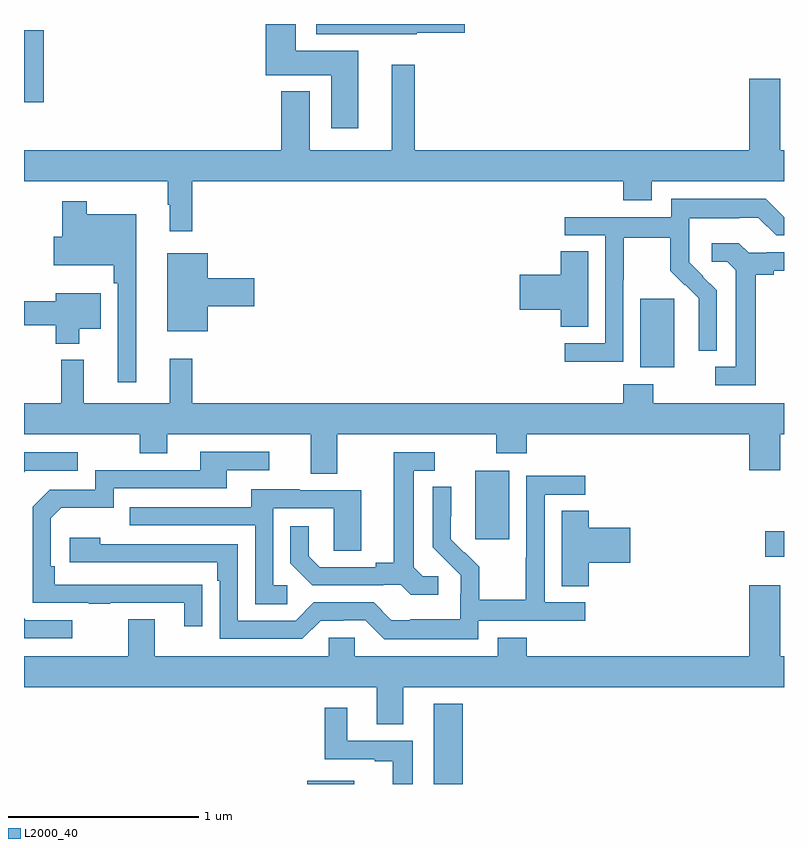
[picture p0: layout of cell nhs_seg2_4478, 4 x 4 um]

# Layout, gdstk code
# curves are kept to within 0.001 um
import gdstk
lib = gdstk.Library(unit=1e-6, precision=1e-09)
def R(c, l, rs):  # rectangles x0, y0, x1, y1
    for r in rs: c.add(gdstk.rectangle(r[:2], r[2:], *l))
def P(c, l, *ps):  # polygons
    for p in ps: c.add(gdstk.Polygon(p, *l))
L2000_40 = (2000, 40)

nhs_seg2_4478 = lib.new_cell('nhs_seg2_4478')
R(nhs_seg2_4478, L2000_40, [(354.491,641.8,354.739,641.818), (355.157,641.8,355.31,642.223), (356.901,642.995,357,643.13), (355.376,643.089,355.555,643.45), (356.243,643.994,356.422,644.355), (353,645.387,353.105,645.768)])
P(nhs_seg2_4478, L2000_40, [(355.068,645.755),(355.321,645.755),(355.321,645.8),(354.537,645.8),(354.537,645.747),(354.849,645.747),(354.849,645.746),(355.068,645.746)],
  [(354.76,645.658),(354.43,645.658),(354.43,645.8),(354.272,645.8),(354.272,645.53),(354.617,645.53),(354.617,645.251),(354.76,645.251)],
  [(353.885,644.972),(356.153,644.972),(356.153,644.873),(356.305,644.873),(356.305,644.972),(357,644.972),(357,645.136),(356.98,645.136),(356.98,645.511),(356.816,645.511),(356.816,645.136),(355.057,645.136),(355.057,645.586),(354.935,645.586),(354.935,645.136),(354.505,645.136),(354.505,645.445),(354.353,645.445),(354.353,645.136),(353,645.136),(353,644.972),(353.757,644.972),(353.757,644.849),(353.768,644.849),(353.768,644.709),(353.885,644.709)],
  [(356.154,644.452),(356.157,644.452),(356.157,644.676),(356.401,644.676),(356.401,644.501),(356.478,644.424),(356.481,644.427),(356.552,644.357),(356.552,644.234),(356.55,644.234),(356.55,644.08),(356.646,644.08),(356.646,644.398),(356.5,644.546),(356.5,644.643),(356.502,644.643),(356.502,644.777),(356.765,644.777),(356.765,644.781),(356.865,644.781),(356.958,644.688),(357,644.688),(357,644.784),(356.903,644.881),(356.406,644.881),(356.406,644.784),(355.845,644.784),(355.845,644.688),(356.058,644.688),(356.058,644.121),(355.845,644.121),(355.845,644.023),(356.154,644.023)],
  [(353.59,644.8),(353.329,644.8),(353.329,644.866),(353.2,644.866),(353.2,644.679),(353.156,644.679),(353.156,644.531),(353.473,644.531),(353.473,644.435),(353.493,644.435),(353.493,643.914),(353.59,643.914)],
  [(356.851,644.48),(356.947,644.48),(356.947,644.502),(357,644.502),(357,644.598),(356.908,644.598),(356.908,644.595),(356.814,644.595),(356.762,644.647),(356.619,644.647),(356.619,644.55),(356.7,644.55),(356.747,644.503),(356.747,643.995),(356.637,643.995),(356.637,643.899),(356.851,643.899)],
  [(355.969,644.603),(355.826,644.603),(355.826,644.48),(355.608,644.48),(355.608,644.297),(355.826,644.297),(355.826,644.206),(355.969,644.206)],
  [(353.968,644.315),(354.211,644.315),(354.211,644.462),(353.968,644.462),(353.968,644.593),(353.753,644.593),(353.753,644.183),(353.968,644.183)],
  [(353.29,644.195),(353.404,644.195),(353.404,644.383),(353.168,644.383),(353.168,644.342),(353,644.342),(353,644.214),(353.168,644.214),(353.168,644.117),(353.29,644.117)],
  [(354.649,643.64),(355.486,643.64),(355.486,643.541),(355.646,643.541),(355.646,643.64),(356.816,643.64),(356.816,643.452),(356.98,643.452),(356.98,643.64),(357,643.64),(357,643.804),(356.313,643.804),(356.313,643.903),(356.153,643.903),(356.153,643.804),(353.885,643.804),(353.885,644.038),(353.768,644.038),(353.768,643.804),(353.315,643.804),(353.315,644.032),(353.197,644.032),(353.197,643.804),(353,643.804),(353,643.64),(353.608,643.64),(353.608,643.541),(353.755,643.541),(353.755,643.64),(354.509,643.64),(354.509,643.432),(354.649,643.432)],
  [(353.939,642.848),(353.162,642.849),(353.162,642.946),(353.142,642.946),(353.142,643.2),(353.195,643.253),(353.472,643.253),(353.472,643.356),(354.067,643.356),(354.067,643.452),(354.292,643.452),(354.292,643.548),(353.927,643.548),(353.927,643.452),(353.376,643.452),(353.376,643.35),(353.136,643.35),(353.046,643.26),(353.046,642.753),(353.341,642.753),(353.341,642.748),(353.453,642.748),(353.453,642.753),(353.843,642.753),(353.843,642.63),(353.939,642.63)],
  [(353.007,643.449),(353.284,643.449),(353.284,643.545),(353,643.545),(353,643.442)],
  [(355.18,642.894),(355.098,642.894),(355.051,642.941),(355.051,643.449),(355.162,643.449),(355.162,643.545),(354.947,643.545),(354.947,642.965),(354.851,642.965),(354.851,642.942),(354.556,642.942),(354.499,642.999),(354.499,643.156),(354.402,643.156),(354.402,642.962),(354.518,642.846),(354.89,642.846),(354.89,642.849),(354.984,642.849),(355.036,642.797),(355.18,642.797)],
  [(355.392,642.66),(355.954,642.66),(355.954,642.756),(355.74,642.756),(355.74,643.323),(355.954,643.323),(355.954,643.422),(355.644,643.422),(355.644,642.992),(355.642,642.992),(355.642,642.769),(355.397,642.769),(355.397,642.943),(355.32,643.02),(355.317,643.017),(355.247,643.088),(355.248,643.364),(355.152,643.364),(355.152,643.046),(355.298,642.898),(355.298,642.801),(355.296,642.801),(355.296,642.667),(355.033,642.667),(355.033,642.663),(354.933,642.663),(354.84,642.756),(354.525,642.756),(354.429,642.66),(354.126,642.66),(354.126,643.062),(353.402,643.062),(353.402,643.096),(353.241,643.096),(353.241,642.966),(354.017,642.966),(354.017,642.869),(354.03,642.869),(354.03,642.564),(354.465,642.564),(354.561,642.66),(354.68,642.66),(354.68,642.663),(354.795,642.663),(354.895,642.563),(355.392,642.563)],
  [(354.385,642.846),(354.312,642.846),(354.312,643.251),(354.63,643.251),(354.63,643.027),(354.775,643.027),(354.775,643.347),(354.451,643.347),(354.451,643.351),(354.197,643.351),(354.197,643.257),(353.557,643.257),(353.557,643.161),(354.216,643.161),(354.216,642.745),(354.385,642.745)],
  [(355.973,642.965),(356.191,642.965),(356.191,643.148),(355.973,643.148),(355.973,643.238),(355.829,643.238),(355.829,642.841),(355.973,642.841)],
  [(354.997,642.308),(357,642.308),(357,642.472),(356.98,642.472),(356.98,642.847),(356.816,642.847),(356.816,642.472),(355.646,642.472),(355.646,642.571),(355.493,642.571),(355.493,642.472),(354.741,642.472),(354.741,642.57),(354.603,642.57),(354.603,642.472),(353.689,642.472),(353.689,642.667),(353.549,642.667),(353.549,642.472),(353,642.472),(353,642.308),(354.857,642.308),(354.857,642.114),(354.997,642.114)],
  [(353.254,642.663),(353.01,642.663),(353,642.673),(353,642.567),(353.254,642.567)],
  [(355.045,642.027),(354.7,642.027),(354.7,642.202),(354.583,642.202),(354.583,641.931),(354.845,641.931),(354.845,641.919),(354.941,641.919),(354.941,641.8),(355.045,641.8)])

lib.write_gds('nhs_seg2_4478.gds')
